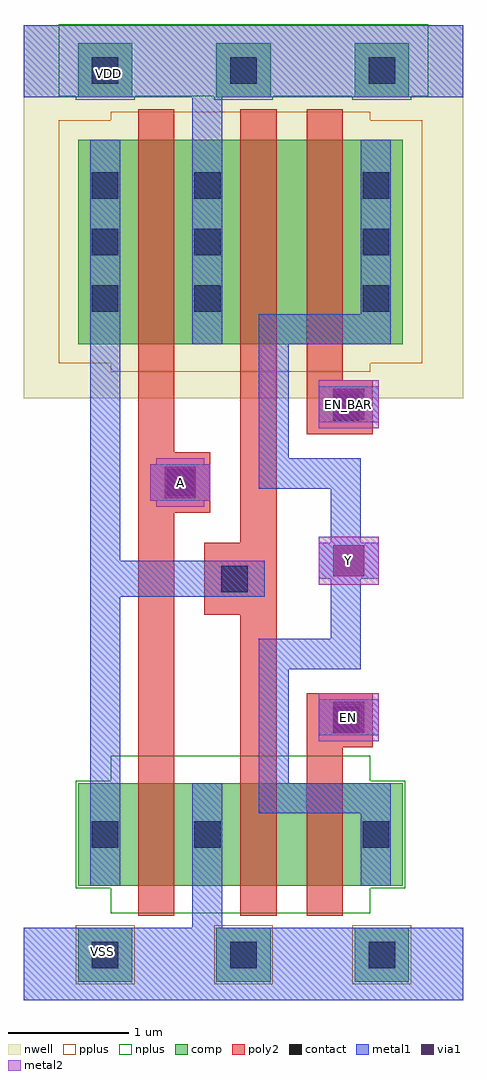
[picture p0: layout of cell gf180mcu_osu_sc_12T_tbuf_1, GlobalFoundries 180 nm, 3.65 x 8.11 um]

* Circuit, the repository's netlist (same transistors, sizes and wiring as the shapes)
* Copyright 2022 Google LLC
*
* Licensed under the Apache License, Version 2.0 (the "License");
* you may not use this file except in compliance with the License.
* You may obtain a copy of the License at
*
*      http://www.apache.org/licenses/LICENSE-2.0
*
* Unless required by applicable law or agreed to in writing, software
* distributed under the License is distributed on an "AS IS" BASIS,
* WITHOUT WARRANTIES OR CONDITIONS OF ANY KIND, either express or implied.
* See the License for the specific language governing permissions and
* limitations under the License.

.option scale=0.05u

.subckt gf180mcu_osu_sc_12T_tbuf_1 A Y EN EN_BAR
X0 Y EN a_42_19 VSS nmos_3p3 w=17 l=6
X1 Y EN_BAR a_42_109 VDD pmos_3p3 w=34 l=6
X2 a_42_109 a_9_19 VDD VDD pmos_3p3 w=34 l=6
X3 VDD A a_9_19 VDD pmos_3p3 w=34 l=6
X4 VSS A a_9_19 VSS nmos_3p3 w=17 l=6
X5 a_42_19 a_9_19 VSS VSS nmos_3p3 w=17 l=6
.ends

** hspice subcircuit dictionary

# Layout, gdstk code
import gdstk
lib = gdstk.Library(unit=1e-6, precision=1e-09)
def R(c, l, rs):  # rectangles x0, y0, x1, y1
    for r in rs: c.add(gdstk.rectangle(r[:2], r[2:], *l))
def A(c, l, x, y, w, h, nx, ny, dx, dy):  # array of equal rectangles
    R(c, l, [(x+i*dx, y+j*dy, x+i*dx+w, y+j*dy+h) for i in range(nx) for j in range(ny)])
nwell = (21, 0)
comp = (22, 0)
poly2 = (30, 0)
pplus = (31, 0)
nplus = (32, 0)
contact = (33, 0)
metal1 = (34, 0)
via1 = (35, 0)
metal2 = (36, 0)

gf180mcu_osu_sc_12t_tbuf = lib.new_cell('gf180mcu_osu_sc_12T_tbuf_1')
R(gf180mcu_osu_sc_12t_tbuf, nwell, [(0,5,3.65,8.1)])
A(gf180mcu_osu_sc_12t_tbuf, comp, 0.45, 0.15, 0.45, 0.45, 3, 2, 1.15, 7.35)
R(gf180mcu_osu_sc_12t_tbuf, comp, [(0.45,0.95,3.15,1.8), (0.45,5.45,3.15,7.15)])
R(gf180mcu_osu_sc_12t_tbuf, poly2, [(0.95,0.7,1.25,4.05), (1.8,0.7,2.1,3.2), (2.35,0.7,2.65,2.1), (2.35,2.1,2.9,2.55), (1.5,3.2,2.1,3.8), (1.8,3.8,2.1,7.4), (0.95,4.05,1.55,4.55), (0.95,4.55,1.25,7.4), (2.35,4.7,2.9,5.15), (2.35,5.15,2.65,7.4)])
A(gf180mcu_osu_sc_12t_tbuf, pplus, 0.43, 0.13, 0.49, 0.49, 3, 1, 1.15, 0)
R(gf180mcu_osu_sc_12t_tbuf, pplus, [(0.72,5.22,2.88,5.29), (0.29,5.29,3.31,7.31), (0.72,7.31,2.88,7.38)])
A(gf180mcu_osu_sc_12t_tbuf, nplus, 0.43, 7.48, 0.49, 0.03, 3, 1, 1.15, 0)
R(gf180mcu_osu_sc_12t_tbuf, nplus, [(0.72,0.72,2.88,0.93), (0.43,0.93,3.17,1.82), (0.72,1.82,2.88,2.03), (0.29,7.51,3.36,8.11)])
A(gf180mcu_osu_sc_12t_tbuf, contact, 0.565, 0.265, 0.22, 0.22, 3, 2, 1.15, 7.35)
A(gf180mcu_osu_sc_12t_tbuf, contact, 0.565, 5.72, 0.22, 0.22, 1, 3, 0, 0.47)
A(gf180mcu_osu_sc_12t_tbuf, contact, 1.415, 5.72, 0.22, 0.22, 1, 3, 0, 0.47)
A(gf180mcu_osu_sc_12t_tbuf, contact, 2.815, 5.72, 0.22, 0.22, 1, 3, 0, 0.47)
R(gf180mcu_osu_sc_12t_tbuf, contact, [(0.565,1.265,0.785,1.485), (1.415,1.265,1.635,1.485), (2.815,1.265,3.035,1.485), (2.565,2.215,2.785,2.435), (1.64,3.39,1.86,3.61), (1.19,4.19,1.41,4.41), (2.565,4.815,2.785,5.035)])
A(gf180mcu_osu_sc_12t_tbuf, metal1, 2.45, 2.2, 0.5, 0.3, 1, 3, 0, 1.3)
R(gf180mcu_osu_sc_12t_tbuf, metal1, [(0,0,3.65,0.6), (1.4,0.6,1.65,1.8), (0.55,0.95,0.8,3.35), (2.8,0.95,3.05,1.55), (1.95,1.55,3.05,1.8), (1.95,1.8,2.2,2.75), (1.95,2.75,2.8,3), (2.55,3,2.8,3.5), (0.55,3.35,2,3.65), (0.55,3.65,0.8,7.15), (2.55,3.8,2.8,4.25), (1.05,4.15,1.55,4.45), (1.95,4.25,2.8,4.5), (1.95,4.5,2.2,5.45), (1.4,5.45,1.65,7.5), (1.95,5.45,3.05,5.7), (2.8,5.7,3.05,7.15), (0,7.5,3.65,8.1)])
A(gf180mcu_osu_sc_12t_tbuf, via1, 2.57, 2.22, 0.26, 0.26, 1, 3, 0, 1.3)
R(gf180mcu_osu_sc_12t_tbuf, via1, [(1.17,4.17,1.43,4.43)])
A(gf180mcu_osu_sc_12t_tbuf, metal2, 2.45, 2.15, 0.5, 0.4, 1, 3, 0, 1.3)
R(gf180mcu_osu_sc_12t_tbuf, metal2, [(1.1,4.1,1.5,4.15), (1.05,4.15,1.55,4.45), (1.1,4.45,1.5,4.5)])
gf180mcu_osu_sc_12t_tbuf.add(gdstk.Label('VDD', (0.7,7.7), layer=34, texttype=0))
gf180mcu_osu_sc_12t_tbuf.add(gdstk.Label('VSS', (0.65,0.4), layer=34, texttype=0))
gf180mcu_osu_sc_12t_tbuf.add(gdstk.Label('A', (1.3,4.3), layer=36, texttype=10))
gf180mcu_osu_sc_12t_tbuf.add(gdstk.Label('Y', (2.7,3.65), layer=36, texttype=10))
gf180mcu_osu_sc_12t_tbuf.add(gdstk.Label('EN', (2.7,2.35), layer=36, texttype=10))
gf180mcu_osu_sc_12t_tbuf.add(gdstk.Label('EN_BAR', (2.7,4.95), layer=36, texttype=10))

lib.write_gds('gf180mcu_osu_sc_12T_tbuf_1.gds')
